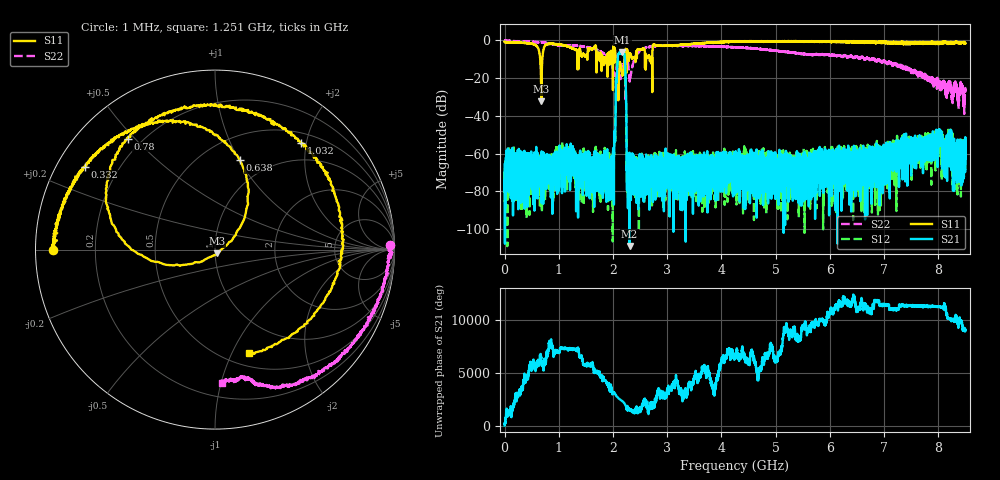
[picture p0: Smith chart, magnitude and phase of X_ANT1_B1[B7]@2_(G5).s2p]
#  HZ  S  RI  R  50.00
! Rohde & Schwarz Vector Network Analyzer
! Rohde-Schwarz,ZNBT8-20Port,1318700624101681,3.50
! Created: UTC 7/15/2025, 2:12:59 PM
! freq[Hz]  re:S1010  im:S1010  re:S0510  im:S0510  re:S1005  im:S1005  re:S55  im:S55
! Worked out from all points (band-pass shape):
!   8500 points, 1 MHz to 8.5 GHz, reference 50 ohm
!   highest |S21| = -6.14 dB at 2.169 GHz (marker M1); lowest = -109.0 dB at 2.307 GHz (marker M2)
!   |S21| within 3 dB of the highest: 2.086 GHz to 2.219 GHz (132.4 MHz wide, 6.15 % of centre)
!   lowest |S11| = -32.3 dB at 678 MHz (marker M3), VSWR 1.05, Z = 51.1 - j2.17 ohm
!   |S11| at or under -10 dB: 657.9 MHz to 696.5 MHz (38.6 MHz wide, 5.7 % of centre); 1.821 GHz to 1.839 GHz (17.4 MHz wide, 0.951 % of centre); 2.062 GHz to 2.212 GHz (150 MHz wide, 7.02 % of centre)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
!   |S22| runs from -39.0 to -0.1 dB; largest |S21 - S12| = 0.024
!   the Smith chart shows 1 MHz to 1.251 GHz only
!   S11 on the Smith chart (normalised r, x): 1 MHz: 0.05, -0.00; 332 MHz: 0.08, +0.29; 638 MHz: 0.74, +1.00; 780 MHz: 0.15, +0.48; 1.032 GHz: 0.67, +1.91; 1.251 GHz: 0.64, -1.16
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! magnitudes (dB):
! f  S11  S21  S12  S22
! 1 MHz  -0.9  -75.5  -69.3  -0.2
! 332 MHz  -1.3  -82.0  -69.3  -0.6
! 638 MHz  -5.7  -70.8  -71.7  -1.0
! 678 MHz  -32.3  -62.1  -66.2  -1.1
! 780 MHz  -2.1  -72.6  -61.9  -1.4
! 1.032 GHz  -2.3  -60.9  -58.3  -2.7
! 1.251 GHz  -4.4  -66.4  -59.1  -2.6
! 1.418 GHz  -8.3  -61.5  -71.0  -3.1
! 1.957 GHz  -6.1  -64.1  -66.9  -11.2
! 2.006 GHz  -3.1  -64.4  -62.5  -15.9
! 2.093 GHz  -21.8  -7.5  -7.6  -12.8
! 2.169 GHz  -18.3  -6.1  -6.2  -12.6
! 2.205 GHz  -14.3  -6.8  -6.8  -13.2
! 2.276 GHz  -6.5  -89.0  -64.4  -11.2
! 2.307 GHz  -7.4  -109.0  -79.4  -21.4
! 2.834 GHz  -2.8  -66.6  -73.0  -2.9
! 4.251 GHz  -0.6  -63.7  -61.8  -3.6
! 5.667 GHz  -0.4  -62.8  -66.3  -7.8
! 7.084 GHz  -1.1  -55.7  -59.5  -11.7
! 8.026 GHz  -1.7  -52.2  -50.1  -21.5
! 8.125 GHz  -0.8  -61.6  -63.2  -24.4
! 8.5 GHz  -1.7  -62.5  -56.1  -26.9
